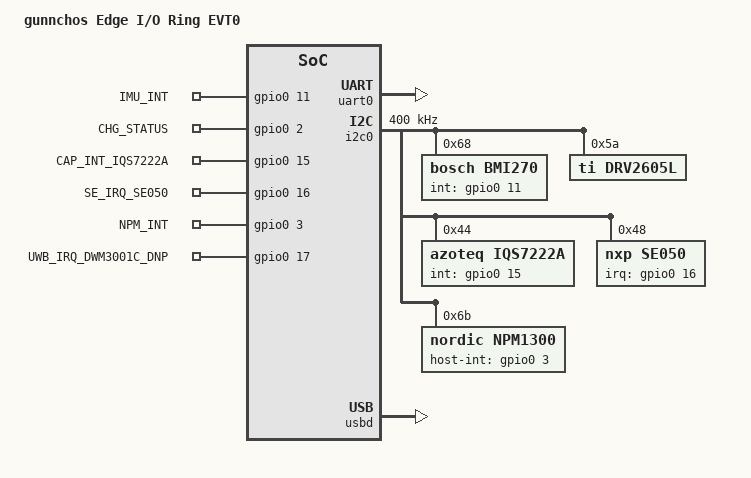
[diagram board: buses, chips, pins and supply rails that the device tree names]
/dts-v1/;

/*
 * Device tree for Edge I/O Ring EVT0/EVT1 — Continuation VI full digital firmware.
 * Truthful nodes (no stub labels). PHYSICAL_EXECUTION_FREEZE — not physical boot.
 *
 * I2C addresses:
 *   BMI270 0x68 (PARITY), DRV2605L 0x5A (PARITY),
 *   IQS7222A 0x44 (datasheet default; ADDR strap — see EDA_PARITY note),
 *   SE050 0x48 (NXP Plug&Trust default; confirm vs EVT1),
 *   npm1300 0x6B (Nordic/Zephyr default).
 * UWB CS: P0.20 EVT1_CANDIDATE — schematic previously TBD; hardware EDA must lock.
 */

/ {
	model = "gunnchos Edge I/O Ring EVT0";
	compatible = "gunnchos,edge-io-ring";

	chosen {
		zephyr,sram = &sram0;
		zephyr,flash = &flash0;
		zephyr,code-partition = &slot0_partition;
		zephyr,console = &uart0;
	};

	aliases {
		imu = &bmi270;
		haptic = &drv2605l;
		imu-int = &imu_int;
		chg-status = &chg_status;
		cap-int = &cap_int;
		se-irq = &se_irq;
		npm-int = &npm_int;
		imu-i2c = &i2c0;
	};

	cpus {
		#address-cells = <1>;
		#size-cells = <0>;
		cpu@0 {
			device_type = "cpu";
			compatible = "arm,cortex-m4f";
			reg = <0>;
		};
	};

	soc {
		compatible = "nordic,nRF52840-QIAA", "nordic,nRF52840", "nordic,nRF52", "simple-bus";
		#address-cells = <1>;
		#size-cells = <1>;

		flash-controller@4001e000 {
			compatible = "nordic,nrf52-flash-controller";
			reg = <0x4001e000 0x1000>;
			flash0: flash@0 {
				compatible = "soc-nv-flash";
				reg = <0x00000000 0x100000>;
				erase-block-size = <4096>;
				write-block-size = <4>;
				partitions {
					compatible = "fixed-partitions";
					#address-cells = <1>;
					#size-cells = <1>;
					boot_partition: partition@0 {
						label = "mcuboot";
						reg = <0x00000000 0x0000C000>;
					};
					slot0_partition: partition@c000 {
						label = "image-0";
						reg = <0x0000C000 0x0006E000>;
					};
					slot1_partition: partition@7a000 {
						label = "image-1";
						reg = <0x0007A000 0x0006E000>;
					};
					scratch_partition: partition@e8000 {
						label = "image-scratch";
						reg = <0x000E8000 0x00010000>;
					};
				};
			};
		};

		sram0: memory@20000000 {
			compatible = "mmio-sram";
			reg = <0x20000000 0x40000>;
		};

		uart0: uart@40002000 {
			compatible = "nordic,nrf-uarte";
			reg = <0x40002000 0x1000>;
			status = "okay";
		};

		i2c0: i2c@40003000 {
			compatible = "nordic,nrf-twi";
			reg = <0x40003000 0x1000>;
			status = "okay";
			clock-frequency = <400000>;
			pinctrl-0 = <&i2c0_default>;

			bmi270: bmi270@68 {
				compatible = "bosch,bmi270";
				reg = <0x68>;
				int-gpios = <&gpio0 11 0>; /* P0.11 IMU_INT */
			};
			drv2605l: drv2605l@5a {
				compatible = "ti,drv2605l";
				reg = <0x5a>;
			};
			iqs7222a: iqs7222a@44 {
				compatible = "azoteq,iqs7222a";
				reg = <0x44>;
				int-gpios = <&gpio0 15 0>; /* P0.15 CAP_INT */
			};
			se050: se050@48 {
				compatible = "nxp,se050";
				reg = <0x48>;
				irq-gpios = <&gpio0 16 0>; /* P0.16 SE_IRQ */
			};
			npm1300: npm1300@6b {
				compatible = "nordic,npm1300";
				reg = <0x6b>;
				host-int-gpios = <&gpio0 3 0>; /* P0.03 NPM_INT */
			};
			/* Optional DNP magnetometer */
			bmm350: bmm350@14 {
				compatible = "bosch,bmm350";
				reg = <0x14>;
				status = "disabled";
			};
		};

		spi0: spi@40004000 {
			compatible = "nordic,nrf-spi";
			reg = <0x40004000 0x1000>;
			status = "disabled"; /* enabled in ring+UWB variant */
			/* DWM3001C DNP — CS P0.20 EVT1_CANDIDATE (EDA lock required) */
			dwm3001c: dwm3001c@0 {
				compatible = "qorvo,dw3000";
				reg = <0>;
				spi-max-frequency = <8000000>;
				irq-gpios = <&gpio0 17 0>; /* P0.17 UWB_IRQ */
				cs-gpios = <&gpio0 20 0>; /* P0.20 UWB_CS EVT1_CANDIDATE */
				status = "disabled";
			};
		};

		gpio0: gpio@50000000 {
			compatible = "nordic,nrf-gpio";
			reg = <0x50000000 0x1000>;
			gpio-controller;
			#gpio-cells = <2>;
			ngpios = <32>;
		};

		wdt0: wdt@40010000 {
			compatible = "nordic,nrf-wdt";
			reg = <0x40010000 0x1000>;
		};

		usbd: usbd@40027000 {
			compatible = "nordic,nrf-usbd";
			reg = <0x40027000 0x1000>;
			status = "okay";
		};
	};

	gpio_inputs {
		compatible = "gpio-keys";
		imu_int: imu_int {
			gpios = <&gpio0 11 0>;
			label = "IMU_INT";
		};
		chg_status: chg_status {
			gpios = <&gpio0 2 0>;
			label = "CHG_STATUS";
		};
		cap_int: cap_int {
			gpios = <&gpio0 15 0>;
			label = "CAP_INT_IQS7222A";
		};
		se_irq: se_irq {
			gpios = <&gpio0 16 0>;
			label = "SE_IRQ_SE050";
		};
		npm_int: npm_int {
			gpios = <&gpio0 3 0>;
			label = "NPM_INT";
		};
		uwb_irq: uwb_irq {
			gpios = <&gpio0 17 0>;
			label = "UWB_IRQ_DWM3001C_DNP";
		};
	};

	pinctrl {
		compatible = "nordic,nrf-pinctrl";
		i2c0_default: i2c0_default {
			group1 {
				psels = <0x1A>, <0x1B>; /* P0.26 SDA, P0.27 SCL */
			};
		};
	};
};
